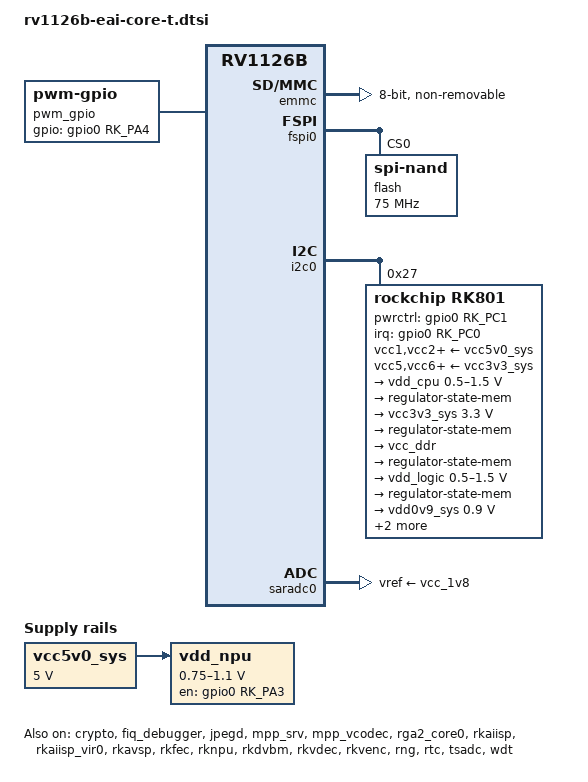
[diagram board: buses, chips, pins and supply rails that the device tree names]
// SPDX-License-Identifier: (GPL-2.0+ OR MIT)
/*
 * Copyright (c) 2025 Guangzhou EASY EAI Technology Co., Ltd.
 */

#include <dt-bindings/gpio/gpio.h>
#include "rv1126b.dtsi"

/ {
	chosen {
		bootargs = "earlycon=uart8250,mmio32,0x20810000 console=ttyFIQ0 rw root=PARTUUID=614e0000-0000 rootfstype=ext4 rootwait snd_soc_core.prealloc_buffer_size_kbytes=16 coherent_pool=32K net.ifnames=0";
	};

	// For npu
	pwm_gpio: pwm-gpio {
		#pwm-cells = <3>;
		compatible = "pwm-gpio";
		gpios = <&gpio0 RK_PA4 GPIO_ACTIVE_HIGH>;
	};

	//直接从连接器取电
	vcc5v0_sys: vcc5v0-sys {
		compatible = "regulator-fixed";
		regulator-name = "vcc5v0_sys";
		regulator-always-on;
		regulator-boot-on;
		regulator-min-microvolt = <5000000>;
		regulator-max-microvolt = <5000000>;
		//vin-supply = <&vcc12v_dcin>;
		status = "okay";
	};

	vdd_npu: vdd-npu {
		compatible = "pwm-regulator";
		pwms = <&pwm_gpio 0 25000 1>;
		regulator-name = "vdd_npu";
		regulator-init-microvolt = <950000>;
		regulator-min-microvolt = <750000>;
		regulator-max-microvolt = <1100000>;
		regulator-always-on;
		regulator-boot-on;
		enable-gpios = <&gpio0 RK_PA3 GPIO_ACTIVE_HIGH>;
		pwm-supply = <&vcc5v0_sys>;
	};
};

&cpu0 {
	cpu-supply = <&vdd_cpu>;
};

&crypto {
	status = "okay";
};

&emmc {
	bus-width = <8>;
	cap-mmc-highspeed;
	non-removable;
	mmc-hs200-1_8v;
	rockchip,default-sample-phase = <90>;
	no-sdio;
	no-sd;
	status = "okay";
};

&fiq_debugger {
	status = "okay";
};

&fspi0 {
	status = "okay";

	flash@0 {
		compatible = "spi-nand";
		reg = <0>;
		spi-max-frequency = <75000000>;
		spi-rx-bus-width = <4>;
		spi-tx-bus-width = <1>;
	};
};

&i2c0 {
	status = "okay";

	rk801: rk801@27 {
		compatible = "rockchip,rk801";
		status = "okay";
		reg = <0x27>;
		interrupt-parent = <&gpio0>;
		interrupts = <RK_PC0 IRQ_TYPE_LEVEL_LOW>;
		pwrctrl-gpios = <&gpio0 RK_PC1 GPIO_ACTIVE_HIGH>;

		pinctrl-names = "default", "pmic-reset";
		pinctrl-0 = <&pmic_int>;
		pinctrl-1 = <&soc_pwrctrl_reset>;
		rockchip,system-power-controller;
		wakeup-source;

		vcc1-supply = <&vcc5v0_sys>;
		vcc2-supply = <&vcc5v0_sys>;
		vcc3-supply = <&vcc5v0_sys>;
		vcc4-supply = <&vcc5v0_sys>;
		vcc5-supply = <&vcc3v3_sys>;
		vcc6-supply = <&vcc3v3_sys>;
		vcc7-supply = <&vcc3v3_sys>;

		regulators {
			vdd_cpu: DCDC_REG1 {
				regulator-name = "vdd_cpu";
				regulator-min-microvolt = <500000>;
				regulator-max-microvolt = <1500000>;
				regulator-initial-mode = <0x1>;
				regulator-boot-on;
				regulator-always-on;
				regulator-state-mem {
					regulator-mode = <0x2>;
					regulator-off-in-suspend;
					regulator-suspend-microvolt = <950000>;
				};
			};

			vcc3v3_sys: DCDC_REG2 {
				regulator-name = "vcc3v3_sys";
				regulator-min-microvolt = <3300000>;
				regulator-max-microvolt = <3300000>;
				regulator-initial-mode = <0x1>;
				regulator-boot-on;
				regulator-always-on;
				regulator-state-mem {
					regulator-mode = <0x2>;
					regulator-on-in-suspend;
					regulator-suspend-microvolt = <3300000>;
				};
			};

			vcc_ddr: DCDC_REG3 {
				regulator-name = "vcc_ddr";
				regulator-boot-on;
				regulator-always-on;
				regulator-state-mem {
					regulator-mode = <0x2>;
					regulator-on-in-suspend;
				};
			};

			vdd_logic: DCDC_REG4 {
				regulator-name = "vdd_logic";
				regulator-min-microvolt = <500000>;
				regulator-max-microvolt = <1500000>;
				regulator-initial-mode = <0x1>;
				regulator-boot-on;
				regulator-always-on;
				regulator-state-mem {
					regulator-mode = <0x2>;
					regulator-off-in-suspend;
					regulator-suspend-microvolt = <900000>;
				};
			};

			vdd0v9_sys: LDO_REG1 {
				regulator-name = "vdd0v9_sys";
				regulator-min-microvolt = <900000>;
				regulator-max-microvolt = <900000>;
				regulator-boot-on;
				regulator-always-on;
				regulator-state-mem {
					regulator-off-in-suspend;
					regulator-suspend-microvolt = <900000>;
				};
			};

			vcc_1v8: LDO_REG2 {
				regulator-name = "vcc_1v8";
				regulator-min-microvolt = <1800000>;
				regulator-max-microvolt = <1800000>;
				regulator-boot-on;
				regulator-always-on;
				regulator-state-mem {
					regulator-off-in-suspend;
					regulator-suspend-microvolt = <1800000>;
				};
			};

			vcc_3v3: SWITCH_REG {
				regulator-name = "vcc_3v3";
				regulator-boot-on;
				regulator-always-on;
				regulator-state-mem {
					regulator-off-in-suspend;
					regulator-suspend-microvolt = <3300000>;
				};
			};
		};
	};
};

&jpegd {
	status = "okay";
};

&jpeg_mmu {
	status = "okay";
};

&mpp_srv {
	status = "okay";
};

&mpp_vcodec {
	status = "okay";
};

&pinctrl {
	pmic {
		pmic_int: pmic-int {
			rockchip,pins = <0 RK_PC0 RK_FUNC_GPIO &pcfg_pull_up>;
		};

		soc_pwrctrl_reset: soc-pwrctrl-reset {
			rockchip,pins = <0 RK_PC1 RK_FUNC_GPIO &pcfg_output_high>;
		};
	};
};

&rga2_core0 {
	status = "okay";
};

&rga2_core0_mmu {
	status = "okay";
};

&rkaiisp {
	status = "okay";
};

&rkaiisp_mmu {
	status = "okay";
};

&rkaiisp_vir0 {
	status = "okay";
};

&rkavsp {
	status = "okay";
};

&rkavsp_mmu {
	status = "okay";
};

&rkfec {
	status = "okay";
};

&rkfec_mmu {
	status = "okay";
};

&rknpu {
	status = "okay";
	rknpu-supply = <&vdd_npu>;
};

&rkdvbm {
	status = "okay";
};

&rknpu_mmu {
	status = "okay";
};

&rkvdec {
	status = "okay";
};

&rkvdec_mmu {
	status = "okay";
};

&rkvenc {
	status = "okay";
};

&rkvenc_mmu {
	status = "okay";
};

&rng {
	status = "okay";
};

&rockchip_suspend {
	status = "okay";

	rockchip,sleep-debug-en = <1>;

	rockchip,sleep-mode-config = <
		(0
		| RKPM_SLP_ARMOFF_LOGOFF
		| RKPM_SLP_PMU_PMUALIVE_32K
		| RKPM_SLP_PMU_DIS_OSC
		| RKPM_SLP_32K_EXT
		| RKPM_SLP_LP_AOA
		)
	>;

	rockchip,sleep-pin-config = <
		(0
		| RKPM_SLEEP_PIN0_EN
		)
		(0
		| RKPM_SLEEP_PIN0_ACT_LOW
		)
	>;

	rockchip,sleep-io-config = <
		/* pmic_sleep */
		(0
		| RKPM_IO_CFG_IOMUX_GPIO
		| RKPM_IO_CFG_GPIO_DIR_INPUT
		| RKPM_IO_CFG_PULL_DOWN
		| RKPM_IO_CFG_ID(0)
		)
		/* reset */
		#if 0
		(0
		| RKPM_IO_CFG_IOMUX_GPIO
		| RKPM_IO_CFG_GPIO_DIR_INPUT
		| RKPM_IO_CFG_PULL_NONE
		| RKPM_IO_CFG_ID(1)
		)
		#endif
		(0
		| RKPM_IO_CFG_IOMUX_GPIO
		| RKPM_IO_CFG_GPIO_DIR_INPUT
		| RKPM_IO_CFG_PULL_DOWN
		| RKPM_IO_CFG_ID(2)
		)
		(0
		| RKPM_IO_CFG_PULL_NONE
		| RKPM_IO_CFG_ID(3)
		)
		(0
		| RKPM_IO_CFG_IOMUX_GPIO
		| RKPM_IO_CFG_GPIO_DIR_INPUT
		| RKPM_IO_CFG_PULL_DOWN
		| RKPM_IO_CFG_ID(4)
		)
		(0
		| RKPM_IO_CFG_IOMUX_GPIO
		| RKPM_IO_CFG_GPIO_DIR_INPUT
		| RKPM_IO_CFG_PULL_UP
		| RKPM_IO_CFG_ID(5)
		)
		(0
		| RKPM_IO_CFG_IOMUX_GPIO
		| RKPM_IO_CFG_GPIO_DIR_INPUT
		| RKPM_IO_CFG_PULL_DOWN
		| RKPM_IO_CFG_ID(6)
		)
		(0
		| RKPM_IO_CFG_IOMUX_GPIO
		| RKPM_IO_CFG_GPIO_DIR_INPUT
		| RKPM_IO_CFG_PULL_UP
		| RKPM_IO_CFG_ID(7)
		)
		(0
		| RKPM_IO_CFG_IOMUX_GPIO
		| RKPM_IO_CFG_GPIO_DIR_INPUT
		| RKPM_IO_CFG_PULL_DOWN
		| RKPM_IO_CFG_ID(8)
		)
		(0
		| RKPM_IO_CFG_IOMUX_GPIO
		| RKPM_IO_CFG_GPIO_DIR_INPUT
		| RKPM_IO_CFG_PULL_DOWN
		| RKPM_IO_CFG_ID(9)
		)
		(0
		| RKPM_IO_CFG_IOMUX_GPIO
		| RKPM_IO_CFG_GPIO_DIR_INPUT
		| RKPM_IO_CFG_PULL_DOWN
		| RKPM_IO_CFG_ID(10)
		)
		(0
		| RKPM_IO_CFG_IOMUX_GPIO
		| RKPM_IO_CFG_GPIO_DIR_INPUT
		| RKPM_IO_CFG_PULL_DOWN
		| RKPM_IO_CFG_ID(11)
		)
		(0
		| RKPM_IO_CFG_IOMUX_GPIO
		| RKPM_IO_CFG_GPIO_DIR_INPUT
		| RKPM_IO_CFG_PULL_DOWN
		| RKPM_IO_CFG_ID(12)
		)
		(0
		| RKPM_IO_CFG_IOMUX_GPIO
		| RKPM_IO_CFG_GPIO_DIR_INPUT
		| RKPM_IO_CFG_PULL_DOWN
		| RKPM_IO_CFG_ID(20)
		)
		(0
		| RKPM_IO_CFG_IOMUX_GPIO
		| RKPM_IO_CFG_GPIO_DIR_INPUT
		| RKPM_IO_CFG_PULL_DOWN
		| RKPM_IO_CFG_ID(21)
		)
		(0
		| RKPM_IO_CFG_IOMUX_GPIO
		| RKPM_IO_CFG_GPIO_DIR_INPUT
		| RKPM_IO_CFG_PULL_DOWN
		| RKPM_IO_CFG_ID(22)
		)
		(0
		| RKPM_IO_CFG_IOMUX_GPIO
		| RKPM_IO_CFG_GPIO_DIR_INPUT
		| RKPM_IO_CFG_PULL_DOWN
		| RKPM_IO_CFG_ID(23)
		)
		(0
		| RKPM_IO_CFG_IOMUX_GPIO
		| RKPM_IO_CFG_GPIO_DIR_INPUT
		| RKPM_IO_CFG_PULL_DOWN
		| RKPM_IO_CFG_ID(24)
		)
		(0
		| RKPM_IO_CFG_IOMUX_GPIO
		| RKPM_IO_CFG_GPIO_DIR_INPUT
		| RKPM_IO_CFG_PULL_DOWN
		| RKPM_IO_CFG_ID(25)
		)
	>;

	rockchip,wakeup-config = <
		(0
		| RKPM_GPIO0_WKUP_EN
		| RKPM_AAD_WKUP_EN
		)
	>;
};

&rtc {
	rockchip,rtc-suspend-bypass;
	status = "okay";
};

&saradc0 {
	status = "okay";
	vref-supply = <&vcc_1v8>;
};

&tsadc {
	status = "okay";
};

&wdt {
	status = "okay";
};
